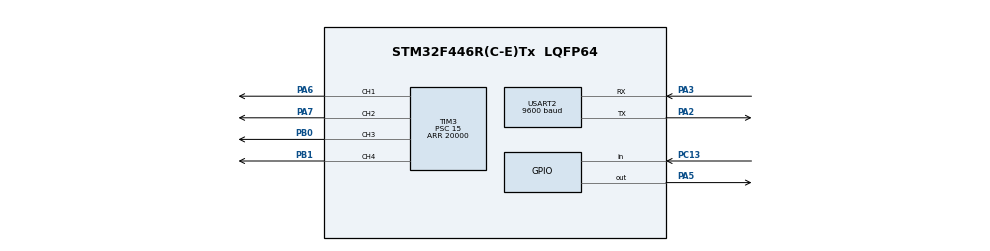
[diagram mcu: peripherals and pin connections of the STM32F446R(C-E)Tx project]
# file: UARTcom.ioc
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Mcu.Family=STM32F4
Mcu.Name=STM32F446R(C-E)Tx
Mcu.Package=LQFP64
NVIC.PriorityGroup=NVIC_PRIORITYGROUP_4
NVIC.USART2_IRQn=true\:0\:0\:false\:false\:true\:true\:true
PA2.Mode=Asynchronous
PA2.Signal=USART2_TX
PA3.Mode=Asynchronous
PA3.Signal=USART2_RX
PA5.Signal=GPIO_Output
PA6.Signal=S_TIM3_CH1
PA7.Signal=S_TIM3_CH2
PB0.Signal=S_TIM3_CH3
PB1.Signal=S_TIM3_CH4
PC13.Signal=GPIO_Input
PC14-OSC32_IN.Mode=LSE-External-Oscillator
PC14-OSC32_IN.Signal=RCC_OSC32_IN
PC15-OSC32_OUT.Mode=LSE-External-Oscillator
PC15-OSC32_OUT.Signal=RCC_OSC32_OUT
PH0-OSC_IN.Mode=HSE-External-Oscillator
PH0-OSC_IN.Signal=RCC_OSC_IN
PH1-OSC_OUT.Mode=HSE-External-Oscillator
PH1-OSC_OUT.Signal=RCC_OSC_OUT
ProjectManager.HeapSize=0x200
ProjectManager.StackSize=0x400
ProjectManager.TargetToolchain=STM32CubeIDE
RCC.CortexFreq_Value=16000000
RCC.USBFreq_Value=96000000
RCC.VCOOutputFreq_Value=192000000
SH.S_TIM3_CH1.0=TIM3_CH1,PWM Generation1 CH1
SH.S_TIM3_CH2.0=TIM3_CH2,PWM Generation2 CH2
SH.S_TIM3_CH3.0=TIM3_CH3,PWM Generation3 CH3
SH.S_TIM3_CH4.0=TIM3_CH4,PWM Generation4 CH4
TIM3.Channel-PWM\ Generation1\ CH1=TIM_CHANNEL_1
TIM3.Channel-PWM\ Generation2\ CH2=TIM_CHANNEL_2
TIM3.Channel-PWM\ Generation3\ CH3=TIM_CHANNEL_3
TIM3.Channel-PWM\ Generation4\ CH4=TIM_CHANNEL_4
TIM3.Period=20000
TIM3.Prescaler=15
USART2.BaudRate=9600
USART2.VirtualMode=VM_ASYNC
board=custom

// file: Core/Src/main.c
/* USER CODE BEGIN Header */
/**
  ******************************************************************************
  * @file           : main.c
  * @brief          : Main program body
  ******************************************************************************
  * @attention
  *
  * <h2><center>&copy; Copyright (c) 2022 STMicroelectronics.
  * All rights reserved.</center></h2>
  *
  * This software component is licensed by ST under BSD 3-Clause license,
  * the "License"; You may not use this file except in compliance with the
  * License. You may obtain a copy of the License at:
  *                        opensource.org/licenses/BSD-3-Clause
  *
  ******************************************************************************
  */
/* USER CODE END Header */
#include "main.h"

/* USER CODE BEGIN Includes */
#include <stdio.h>
/* USER CODE END Includes */

/* USER CODE BEGIN PD */
//Definition des pins de chaque servos
#define LEFT_ARM   TIM_CHANNEL_1	//D9 sur carte fille - D12 sur stm32
#define LEFT_CLAW  TIM_CHANNEL_2 	//D11 sur carte fille - D11 sur stm32
#define RIGHT_ARM  TIM_CHANNEL_3	//D5 sur carte fille - A3 sur stm32
#define RIGHT_CLAW TIM_CHANNEL_4	//D8 sur carte fille - D7 MORPHEO droite

//Definition des rapports cycliques (en us) pour chaque position de chaque pince.
#define LEFT_CLAW_OPEN   1800
#define LEFT_CLAW_CLOSE  1000
#define LEFT_CLAW_FREE   1250
#define RIGHT_CLAW_OPEN  1900
#define RIGHT_CLAW_CLOSE 1100
#define RIGHT_CLAW_FREE  1300

//Definition des rapports cycliques (en us) pour chaque position de chaque bras.
#define LEFT_ARM_0    530
#define LEFT_ARM_90   1420
#define LEFT_ARM_180  2305
#define RIGHT_ARM_0   495
#define RIGHT_ARM_90  1437
#define RIGHT_ARM_180 2435

//Definition du delai entre chaque mouvement
#define DELAY 1000

void LeftCWBody();
void LeftAWBody();
void LeftCWSide();
void LeftAWSide();
void RightCWBody();
void RightAWBody();
void RightCWSide();
void RightAWSide();

void ActR2();
void ActRp();
void ActR();
void ActL2();
void ActLp();
void ActL();
void ActU2();
void ActUp();
void ActU();
void ActD2();
void ActDp();
void ActD();
void ActF2();
void ActFp();
void ActF();
void ActB2();
void ActBp();
void ActB();

void TuneLeftArm();
void TuneRightArm();
void TuneLeftClaw();
void TuneRightClaw();
/* USER CODE END PD */

TIM_HandleTypeDef htim3;

UART_HandleTypeDef huart2;

void SystemClock_Config(void);
static void MX_GPIO_Init(void);
static void MX_USART2_UART_Init(void);
static void MX_TIM3_Init(void);

/* USER CODE BEGIN 0 */
uint8_t rx_buf[128];

void __io_putchar(uint8_t ch) {
	HAL_UART_Transmit(&huart2, &ch, 1, 1);
}

unsigned char solve()
{
	  int i=0;
	  HAL_UART_Receive(&huart2,rx_buf,128,100);
	  if(rx_buf[0]=='G' && rx_buf[1]=='O' && rx_buf[2]==':')
	  {
		  printf("===============Debut resolution============\n\r");
		  i=3;
		  while(rx_buf[i]!=0)
		  {
			  if(rx_buf[i]=='R')
			  {
				  //printf("R\n\r");
				  if (rx_buf[i+1] == '2')		//cas R2
				  {
					  printf("R2\r\n");
					  ActR2();
					  i+=3;
				  }
				  else if (rx_buf[i+1] == 39)
				  {
					  printf("R'\r\n");
					  ActRp();
					  i+=3;
				  }
				  else if (rx_buf[i+1] == 32)
				  {
					  printf("R\r\n");
					  ActR();
					  i+=2;
				  }
				  else
				  {
					  printf("error\r\n");
					  return 1;
					  }
			  }
			  else if(rx_buf[i]=='L')
			  {
				  //printf("L\n\r");
				  if (rx_buf[i+1] == '2')
				  {
					  printf("L2\r\n");
					  ActL2();
					  i+=3;
				  }
				  else if (rx_buf[i+1] == 39)
				  {
					  printf("L'\r\n");
					  ActLp();
					  i+=3;
				  }
					  else if (rx_buf[i+1] == 32)
				  {
					  printf("L\r\n");
					  ActL();
					  i+=2;
				  }
				  else
				  {
					  printf("error\r\n");
					  return 1;
				  }
			  }
			  else if(rx_buf[i]=='U')
			  {
				  //printf("U\n\r");
				  if (rx_buf[i+1] == '2')
				  {
					  printf("U2\r\n");
					  ActU2();
					  i+=3;
				  }
					  else if (rx_buf[i+1] == 39)
				  {
					  printf("U'\r\n");
					  ActUp();
					  i+=3;
				  }
				  else if (rx_buf[i+1] == 32)
				  {
					  printf("U\r\n");
					  ActU();
					  i+=2;
				  }
				  else
				  {
					  printf("error\r\n");
					  return 1 ;
				  }
			  }
			  else if(rx_buf[i]=='D')
			  {
				  //printf("D\n\r");
				  if (rx_buf[i+1] == '2')
				  {
					  printf("D2\r\n");
					  ActD2();
					  i+=3;
				  }
				  else if (rx_buf[i+1] == 39)
				  {
					  printf("D'\r\n");
					  ActDp();
					  i+=3;
				  }
				  else if (rx_buf[i+1] == 32)
				  {
					  printf("D\r\n");
					  ActD();
					  i+=2;
				  }
				  else
				  {
					  printf("error\r\n");
					  return 1;
				  }
			  }
			  else if(rx_buf[i]=='F')
			  {
				  //printf("F\n\r");
				  if (rx_buf[i+1] == '2')
				  {
					  printf("F2\r\n");
					  ActF2();
					  i+=3;
				  }
				  else if (rx_buf[i+1] == 39)
				  {
					  printf("F'\r\n");
					  ActFp();
					  i+=3;
				  }
				  else if (rx_buf[i+1] == 32)
				  {
					  printf("F\r\n");
					  ActF();
					  i+=2;
				  }
				  else
				  {
					  printf("error\r\n");
					  return 1;
				  }
			  }
			  else if(rx_buf[i]=='B')
			  {
				  //printf("B\n\r");
				  if (rx_buf[i+1] == '2')
				  {
					  printf("B2\r\n");
					  ActB2();
					  i+=3;
				  }
				  else if (rx_buf[i+1] == 39)
				  {
					  printf("B'\r\n");
					  ActBp();
					  i+=3;
				  }
				  else if (rx_buf[i+1] == 32)
				  {
					  printf("B\r\n");
					  ActB();
					  i+=2;
				  }
				  else
				  {
					  printf("error\r\n");
					  return 1;
				  }
			  }
		  }
	  }
	  else if(rx_buf[0] == 0)
	  {
			//printf("Rentrer une sequence de resolution :\n\r");
			return 1;
	  }
	  else
	  {
		  printf("Incorrect Input\r\n");
	  }
	  return 0;
}

void setPWM(TIM_HandleTypeDef timer, uint32_t channel, uint16_t period, uint16_t pulse)
{
	HAL_TIM_PWM_Stop(&timer, channel);
	TIM_OC_InitTypeDef sConfigOC;
	timer.Init.Period = period;

	sConfigOC.OCMode = TIM_OCMODE_PWM1;
	sConfigOC.Pulse = pulse;
	sConfigOC.OCPolarity = TIM_OCPOLARITY_HIGH;
	sConfigOC.OCFastMode = TIM_OCFAST_DISABLE;
	HAL_TIM_PWM_ConfigChannel(&timer, &sConfigOC, channel);

	HAL_TIM_PWM_Start(&timer, channel);
}

void initServosPosition(){
	  setPWM(htim3, LEFT_CLAW, 20000, LEFT_CLAW_OPEN);
	  setPWM(htim3, RIGHT_CLAW, 20000, RIGHT_CLAW_OPEN);
	  HAL_Delay(DELAY);
	  setPWM(htim3, LEFT_ARM, 20000, LEFT_ARM_90);
	  setPWM(htim3, RIGHT_ARM, 20000, RIGHT_ARM_90);
	  HAL_Delay(DELAY);
	  setPWM(htim3, LEFT_CLAW, 20000, LEFT_CLAW_FREE);
	  setPWM(htim3, RIGHT_CLAW, 20000, RIGHT_CLAW_FREE);
	  HAL_Delay(5000);
	  setPWM(htim3, LEFT_CLAW, 20000, LEFT_CLAW_CLOSE);
  	  setPWM(htim3, RIGHT_CLAW, 20000, RIGHT_CLAW_CLOSE);
	  HAL_Delay(DELAY);
}

void LeftCWBody()
{
	setPWM(htim3, RIGHT_CLAW, 20000, RIGHT_CLAW_OPEN);
	HAL_Delay(DELAY);
	setPWM(htim3, LEFT_ARM, 20000, LEFT_ARM_180);
	HAL_Delay(DELAY);
	setPWM(htim3, RIGHT_CLAW, 20000, RIGHT_CLAW_CLOSE);
	HAL_Delay(DELAY);
	setPWM(htim3, LEFT_CLAW, 20000, LEFT_CLAW_OPEN);
	HAL_Delay(DELAY);
	setPWM(htim3, LEFT_ARM, 20000, LEFT_ARM_90);
	HAL_Delay(DELAY);
	setPWM(htim3, LEFT_CLAW, 20000, LEFT_CLAW_CLOSE);
	HAL_Delay(DELAY);
}

void LeftAWBody()
{
	setPWM(htim3, RIGHT_CLAW, 20000, RIGHT_CLAW_OPEN);
	HAL_Delay(DELAY);
	setPWM(htim3, LEFT_ARM, 20000, LEFT_ARM_0);
	HAL_Delay(DELAY);
	setPWM(htim3, RIGHT_CLAW, 20000, RIGHT_CLAW_CLOSE);
	HAL_Delay(DELAY);
	setPWM(htim3, LEFT_CLAW, 20000, LEFT_CLAW_OPEN);
	HAL_Delay(DELAY);
	setPWM(htim3, LEFT_ARM, 20000, LEFT_ARM_90);
	HAL_Delay(DELAY);
	setPWM(htim3, LEFT_CLAW, 20000, LEFT_CLAW_CLOSE);
	HAL_Delay(DELAY);
}

void LeftCWSide()
{
	setPWM(htim3, LEFT_ARM, 20000, LEFT_ARM_180);
	HAL_Delay(DELAY);
	setPWM(htim3, LEFT_CLAW, 20000, LEFT_CLAW_OPEN);
	HAL_Delay(DELAY);
	setPWM(htim3, LEFT_ARM, 20000, LEFT_ARM_90);
	HAL_Delay(DELAY);
	setPWM(htim3, LEFT_CLAW, 20000, LEFT_CLAW_CLOSE);
	HAL_Delay(DELAY);
}

void LeftAWSide()
{
	setPWM(htim3, LEFT_ARM, 20000, LEFT_ARM_0);
	HAL_Delay(DELAY);
	setPWM(htim3, LEFT_CLAW, 20000, LEFT_CLAW_OPEN);
	HAL_Delay(DELAY);
	setPWM(htim3, LEFT_ARM, 20000, LEFT_ARM_90);
	HAL_Delay(DELAY);
	setPWM(htim3, LEFT_CLAW, 20000, LEFT_CLAW_CLOSE);
	HAL_Delay(DELAY);
}

void RightCWBody()
{
	setPWM(htim3, LEFT_CLAW, 20000, LEFT_CLAW_OPEN);
	HAL_Delay(DELAY);
	setPWM(htim3, RIGHT_ARM, 20000, RIGHT_ARM_180);
	HAL_Delay(DELAY);
	setPWM(htim3, LEFT_CLAW, 20000, LEFT_CLAW_CLOSE);
	HAL_Delay(DELAY);
	setPWM(htim3, RIGHT_CLAW, 20000, RIGHT_CLAW_OPEN);
	HAL_Delay(DELAY);
	setPWM(htim3, RIGHT_ARM, 20000, RIGHT_ARM_90);
	HAL_Delay(DELAY);
	setPWM(htim3, RIGHT_CLAW, 20000, RIGHT_CLAW_CLOSE);
	HAL_Delay(DELAY);
}

void RightAWBody()
{
	setPWM(htim3, LEFT_CLAW, 20000, LEFT_CLAW_OPEN);
	HAL_Delay(DELAY);
	setPWM(htim3, RIGHT_ARM, 20000, RIGHT_ARM_0);
	HAL_Delay(DELAY);
	setPWM(htim3, LEFT_CLAW, 20000, LEFT_CLAW_CLOSE);
	HAL_Delay(DELAY);
	setPWM(htim3, RIGHT_CLAW, 20000, RIGHT_CLAW_OPEN);
	HAL_Delay(DELAY);
	setPWM(htim3, RIGHT_ARM, 20000, RIGHT_ARM_90);
	HAL_Delay(DELAY);
	setPWM(htim3, RIGHT_CLAW, 20000, RIGHT_CLAW_CLOSE);
	HAL_Delay(DELAY);
}

void RightCWSide()
{
	setPWM(htim3, RIGHT_ARM, 20000, RIGHT_ARM_180);
	HAL_Delay(DELAY);
	setPWM(htim3, RIGHT_CLAW, 20000, RIGHT_CLAW_OPEN);
	HAL_Delay(DELAY);
	setPWM(htim3, RIGHT_ARM, 20000, RIGHT_ARM_90);
	HAL_Delay(DELAY);
	setPWM(htim3, RIGHT_CLAW, 20000, RIGHT_CLAW_CLOSE);
	HAL_Delay(DELAY);
}

void RightAWSide()
{
	setPWM(htim3, RIGHT_ARM, 20000, RIGHT_ARM_0);
	HAL_Delay(DELAY);
	setPWM(htim3, RIGHT_CLAW, 20000, RIGHT_CLAW_OPEN);
	HAL_Delay(DELAY);
	setPWM(htim3, RIGHT_ARM, 20000, RIGHT_ARM_90);
	HAL_Delay(DELAY);
	setPWM(htim3, RIGHT_CLAW, 20000, RIGHT_CLAW_CLOSE);
	HAL_Delay(DELAY);
}

void ActR2()
{
	RightCWBody();
	LeftAWSide();
	LeftAWSide();
	RightAWBody();
}

void ActRp()
{
	RightCWBody();
	LeftAWSide();
	RightAWBody();
}

void ActR()
{
	RightCWBody();
	LeftCWSide();
	RightAWBody();
}

void ActL2()
{
	RightAWBody();
	LeftAWSide();
	LeftAWSide();
	RightCWBody();
}

void ActLp()
{
	RightAWBody();
	LeftAWSide();
	RightCWBody();
}

void ActL()
{
	RightAWBody();
	LeftCWSide();
	RightCWBody();
}

void ActU2()
{
	LeftCWBody();
	LeftCWBody();
	RightCWSide();
	RightCWSide();
	LeftCWBody();
	LeftCWBody();
}

void ActUp()
{
	LeftCWBody();
	LeftCWBody();
	RightAWSide();
	LeftCWBody();
	LeftCWBody();
}

void ActU()
{
	LeftCWBody();
	LeftCWBody();
	RightCWSide();
	LeftCWBody();
	LeftCWBody();
}

void ActD2()
{
	RightCWSide();
	RightCWSide();
}

void ActDp()
{
	RightAWSide();
}

void ActD()
{
	RightCWSide();
}

void ActF2()
{
	RightCWBody();
	RightCWBody();
	LeftCWSide();
	LeftCWSide();
	RightCWBody();
	RightCWBody();
}

void ActFp()
{
	RightCWBody();
	RightCWBody();
	LeftAWSide();
	RightCWBody();
	RightCWBody();
}

void ActF()
{
	RightCWBody();
	RightCWBody();
	LeftCWSide();
	RightCWBody();
	RightCWBody();
}

void ActB2()
{
	LeftCWSide();
	LeftCWSide();
}

void ActBp()
{
	LeftAWSide();
}

void ActB()
{
	LeftCWSide();
}

/* USER CODE END 0 */

int main(void)
{

  /* MCU Configuration--------------------------------------------------------*/

  /* Reset of all peripherals, Initializes the Flash interface and the Systick. */
  HAL_Init();

  /* Configure the system clock */
  SystemClock_Config();

  /* Initialize all configured peripherals */
  MX_GPIO_Init();
  MX_USART2_UART_Init();
  MX_TIM3_Init();
  /* USER CODE BEGIN 2 */
  HAL_TIM_PWM_Init(&htim3);
  printf("Power ON\r\n");
  for(int i=0; i<128; i++)
  {
  		  rx_buf[i] = 0;
  }
  initServosPosition();
  /* USER CODE END 2 */

  /* Infinite loop */
  /* USER CODE BEGIN WHILE */
  int sol=1;
  while (sol!=0)
  {
    /* USER CODE END WHILE */

    /* USER CODE BEGIN 3 */
	  int sol = solve();
	  if(sol==0)
	  {
		  printf("Fini \n\r");
		  break;
	  }

	/*setPWM(htim3, LEFT_ARM, 20000, LEFT_ARM_0);
	HAL_Delay(DELAY);
	setPWM(htim3, LEFT_ARM, 20000, LEFT_ARM_90);
	HAL_Delay(DELAY);
	setPWM(htim3, LEFT_ARM, 20000, LEFT_ARM_180);
	HAL_Delay(DELAY);
	setPWM(htim3, LEFT_ARM, 20000, LEFT_ARM_90);
	HAL_Delay(DELAY);*/
  }
  return 0;
  /* USER CODE END 3 */
}

void SystemClock_Config(void)
{
  RCC_OscInitTypeDef RCC_OscInitStruct = {0};
  RCC_ClkInitTypeDef RCC_ClkInitStruct = {0};

  /** Configure the main internal regulator output voltage
  */
  __HAL_RCC_PWR_CLK_ENABLE();
  __HAL_PWR_VOLTAGESCALING_CONFIG(PWR_REGULATOR_VOLTAGE_SCALE3);
  /** Initializes the RCC Oscillators according to the specified parameters
  * in the RCC_OscInitTypeDef structure.
  */
  RCC_OscInitStruct.OscillatorType = RCC_OSCILLATORTYPE_HSI;
  RCC_OscInitStruct.HSIState = RCC_HSI_ON;
  RCC_OscInitStruct.HSICalibrationValue = RCC_HSICALIBRATION_DEFAULT;
  RCC_OscInitStruct.PLL.PLLState = RCC_PLL_NONE;
  if (HAL_RCC_OscConfig(&RCC_OscInitStruct) != HAL_OK)
  {
    Error_Handler();
  }
  /** Initializes the CPU, AHB and APB buses clocks
  */
  RCC_ClkInitStruct.ClockType = RCC_CLOCKTYPE_HCLK|RCC_CLOCKTYPE_SYSCLK
                              |RCC_CLOCKTYPE_PCLK1|RCC_CLOCKTYPE_PCLK2;
  RCC_ClkInitStruct.SYSCLKSource = RCC_SYSCLKSOURCE_HSI;
  RCC_ClkInitStruct.AHBCLKDivider = RCC_SYSCLK_DIV1;
  RCC_ClkInitStruct.APB1CLKDivider = RCC_HCLK_DIV1;
  RCC_ClkInitStruct.APB2CLKDivider = RCC_HCLK_DIV1;

  if (HAL_RCC_ClockConfig(&RCC_ClkInitStruct, FLASH_LATENCY_0) != HAL_OK)
  {
    Error_Handler();
  }
}

static void MX_TIM3_Init(void)
{

  TIM_MasterConfigTypeDef sMasterConfig = {0};
  TIM_OC_InitTypeDef sConfigOC = {0};

  htim3.Instance = TIM3;
  htim3.Init.Prescaler = 15;
  htim3.Init.CounterMode = TIM_COUNTERMODE_UP;
  htim3.Init.Period = 20000;
  htim3.Init.ClockDivision = TIM_CLOCKDIVISION_DIV1;
  htim3.Init.AutoReloadPreload = TIM_AUTORELOAD_PRELOAD_DISABLE;
  if (HAL_TIM_PWM_Init(&htim3) != HAL_OK)
  {
    Error_Handler();
  }
  sMasterConfig.MasterOutputTrigger = TIM_TRGO_RESET;
  sMasterConfig.MasterSlaveMode = TIM_MASTERSLAVEMODE_DISABLE;
  if (HAL_TIMEx_MasterConfigSynchronization(&htim3, &sMasterConfig) != HAL_OK)
  {
    Error_Handler();
  }
  sConfigOC.OCMode = TIM_OCMODE_PWM1;
  sConfigOC.Pulse = 0;
  sConfigOC.OCPolarity = TIM_OCPOLARITY_HIGH;
  sConfigOC.OCFastMode = TIM_OCFAST_DISABLE;
  if (HAL_TIM_PWM_ConfigChannel(&htim3, &sConfigOC, TIM_CHANNEL_1) != HAL_OK)
  {
    Error_Handler();
  }
  if (HAL_TIM_PWM_ConfigChannel(&htim3, &sConfigOC, TIM_CHANNEL_2) != HAL_OK)
  {
    Error_Handler();
  }
  if (HAL_TIM_PWM_ConfigChannel(&htim3, &sConfigOC, TIM_CHANNEL_3) != HAL_OK)
  {
    Error_Handler();
  }
  if (HAL_TIM_PWM_ConfigChannel(&htim3, &sConfigOC, TIM_CHANNEL_4) != HAL_OK)
  {
    Error_Handler();
  }
  HAL_TIM_MspPostInit(&htim3);

}

static void MX_USART2_UART_Init(void)
{

  huart2.Instance = USART2;
  huart2.Init.BaudRate = 9600;
  huart2.Init.WordLength = UART_WORDLENGTH_8B;
  huart2.Init.StopBits = UART_STOPBITS_1;
  huart2.Init.Parity = UART_PARITY_NONE;
  huart2.Init.Mode = UART_MODE_TX_RX;
  huart2.Init.HwFlowCtl = UART_HWCONTROL_NONE;
  huart2.Init.OverSampling = UART_OVERSAMPLING_16;
  if (HAL_UART_Init(&huart2) != HAL_OK)
  {
    Error_Handler();
  }

}

static void MX_GPIO_Init(void)
{
  GPIO_InitTypeDef GPIO_InitStruct = {0};

  /* GPIO Ports Clock Enable */
  __HAL_RCC_GPIOC_CLK_ENABLE();
  __HAL_RCC_GPIOH_CLK_ENABLE();
  __HAL_RCC_GPIOA_CLK_ENABLE();
  __HAL_RCC_GPIOB_CLK_ENABLE();

  /*Configure GPIO pin Output Level */
  HAL_GPIO_WritePin(GPIOA, GPIO_PIN_5, GPIO_PIN_RESET);

  /*Configure GPIO pin : PA5 */
  GPIO_InitStruct.Pin = GPIO_PIN_5;
  GPIO_InitStruct.Mode = GPIO_MODE_OUTPUT_PP;
  GPIO_InitStruct.Pull = GPIO_NOPULL;
  GPIO_InitStruct.Speed = GPIO_SPEED_FREQ_LOW;
  HAL_GPIO_Init(GPIOA, &GPIO_InitStruct);

}

void Error_Handler(void)
{
  __disable_irq();
  while (1)
  {
  }
}

/************************ (C) COPYRIGHT STMicroelectronics *****END OF FILE****/
